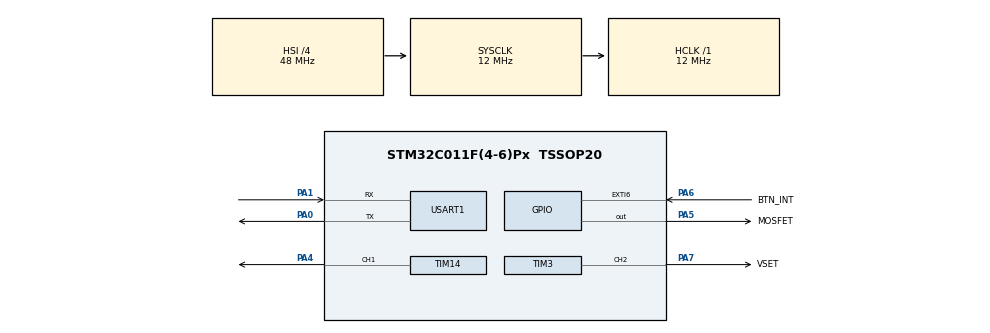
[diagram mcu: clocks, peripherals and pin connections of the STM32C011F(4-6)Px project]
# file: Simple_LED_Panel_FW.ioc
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Mcu.Family=STM32C0
Mcu.Name=STM32C011F(4-6)Px
Mcu.Package=TSSOP20
NVIC.EXTI4_15_IRQn=true\:0\:0\:false\:false\:true\:true\:true\:true
NVIC.TIM14_IRQn=true\:0\:0\:false\:false\:true\:true\:true\:true
NVIC.TIM3_IRQn=true\:0\:0\:false\:false\:true\:true\:true\:true
PA0.Mode=Asynchronous
PA0.Signal=USART1_TX
PA1.Mode=Asynchronous
PA1.Signal=USART1_RX
PA13.Mode=Serial_Wire
PA13.Signal=DEBUG_SWDIO
PA14-BOOT0.Mode=Serial_Wire
PA14-BOOT0.Signal=DEBUG_SWCLK
PA4.Signal=S_TIM14_CH1
PA5.GPIO_Label=MOSFET
PA5.Signal=GPIO_Output
PA6.GPIO_Label=BTN_INT
PA6.GPIO_ModeDefaultEXTI=GPIO_MODE_IT_FALLING
PA6.Signal=GPXTI6
PA7.GPIO_Label=VSET
PA7.GPIO_ModeDefaultPP=GPIO_MODE_AF_PP
PA7.GPIO_Speed=GPIO_SPEED_FREQ_VERY_HIGH
PA7.Signal=S_TIM3_CH2
PC14-OSCX_IN\ (PC14).Mode=HSE-External-Oscillator-REMAPPED
PC14-OSCX_IN\ (PC14).Signal=RCC_OSCX_IN
PC15-OSCX_OUT\ (PC15).Mode=HSE-External-Oscillator-REMAPPED
PC15-OSCX_OUT\ (PC15).Signal=RCC_OSCX_OUT
ProjectManager.HeapSize=0x200
ProjectManager.StackSize=0x400
ProjectManager.TargetToolchain=STM32CubeIDE
RCC.ADCFreq_Value=12000000
RCC.AHBFreq_Value=12000000
RCC.CortexFreq_Value=12000000
RCC.EXTERNAL_CLOCK_VALUE=12288000
RCC.HCLKFreq_Value=12000000
RCC.HSE_VALUE=8000000
RCC.HSI_VALUE=48000000
RCC.LSE_VALUE=32768
RCC.SYSCLKFreq_VALUE=12000000
SH.S_TIM14_CH1.0=TIM14_CH1,PWM Generation1 CH1
SH.S_TIM3_CH2.0=TIM3_CH2,PWM Generation2 CH2
TIM14.Channel=TIM_CHANNEL_1
TIM14.Period=1999
TIM14.Prescaler=11999
TIM14.Pulse=1000
TIM3.Channel-PWM\ Generation2\ CH2=TIM_CHANNEL_2
TIM3.Period=119
TIM3.Prescaler=0
TIM3.Pulse-PWM\ Generation2\ CH2=0
USART1.VirtualMode-Asynchronous=VM_ASYNC
VP_TIM14_VS_ClockSourceINT.Mode=Enable_Timer
VP_TIM3_VS_ClockSourceINT.Mode=Internal
board=custom

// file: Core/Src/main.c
/* USER CODE BEGIN Header */
/**
  ******************************************************************************
  * @file           : main.c
  * @brief          : Main program body
  ******************************************************************************
  * @attention
  *
  * Copyright (c) 2025 STMicroelectronics.
  * All rights reserved.
  *
  * This software is licensed under terms that can be found in the LICENSE file
  * in the root directory of this software component.
  * If no LICENSE file comes with this software, it is provided AS-IS.
  *
  ******************************************************************************
  */
/* USER CODE END Header */
#include "main.h"

/* USER CODE BEGIN Includes */
#include "mode.h"
/* USER CODE END Includes */

TIM_HandleTypeDef htim3;
TIM_HandleTypeDef htim14;

UART_HandleTypeDef huart1;

/* USER CODE BEGIN PV */
uint8_t state = 0;

/* USER CODE END PV */

void SystemClock_Config(void);
static void MX_GPIO_Init(void);
static void MX_USART1_UART_Init(void);
static void MX_TIM14_Init(void);
static void MX_TIM3_Init(void);

int main(void)
{

  /* MCU Configuration--------------------------------------------------------*/

  /* Reset of all peripherals, Initializes the Flash interface and the Systick. */
  HAL_Init();

  /* Configure the system clock */
  SystemClock_Config();

  /* Initialize all configured peripherals */
  MX_GPIO_Init();
  MX_USART1_UART_Init();
  MX_TIM14_Init();
  MX_TIM3_Init();
  /* USER CODE BEGIN 2 */
  HAL_TIM_PWM_Start(&htim14, TIM_CHANNEL_1);
  HAL_TIM_PWM_Start(&htim3, TIM_CHANNEL_2);

int count = 0;
int dir = 0;

  /* USER CODE END 2 */

  /* Infinite loop */
  /* USER CODE BEGIN WHILE */
  while (1)
  {
	  if(get_mode() == 2){
		  htim3.Instance->CCR2 = count;
		  HAL_Delay(3);
		  if(dir == 0){
		    count ++;

		  }else{
		    count--;
		  }

		  if(count == 120){
		    dir = 1;
		  } else if(count == 0){
		    dir = 0;
		  }
	  }
	  else if(get_mode() == 1){
		  htim3.Instance->CCR2 = 120;
	  } else if(get_mode() == 0){
		  htim3.Instance->CCR2 = 0;
	  }

    /* USER CODE END WHILE */

  }
}

void SystemClock_Config(void)
{
  RCC_OscInitTypeDef RCC_OscInitStruct = {0};
  RCC_ClkInitTypeDef RCC_ClkInitStruct = {0};

  __HAL_FLASH_SET_LATENCY(FLASH_LATENCY_0);

  /** Initializes the RCC Oscillators according to the specified parameters
  * in the RCC_OscInitTypeDef structure.
  */
  RCC_OscInitStruct.OscillatorType = RCC_OSCILLATORTYPE_HSI;
  RCC_OscInitStruct.HSIState = RCC_HSI_ON;
  RCC_OscInitStruct.HSIDiv = RCC_HSI_DIV4;
  RCC_OscInitStruct.HSICalibrationValue = RCC_HSICALIBRATION_DEFAULT;
  if (HAL_RCC_OscConfig(&RCC_OscInitStruct) != HAL_OK)
  {
    Error_Handler();
  }

  /** Initializes the CPU, AHB and APB buses clocks
  */
  RCC_ClkInitStruct.ClockType = RCC_CLOCKTYPE_HCLK|RCC_CLOCKTYPE_SYSCLK
                              |RCC_CLOCKTYPE_PCLK1;
  RCC_ClkInitStruct.SYSCLKSource = RCC_SYSCLKSOURCE_HSI;
  RCC_ClkInitStruct.SYSCLKDivider = RCC_SYSCLK_DIV1;
  RCC_ClkInitStruct.AHBCLKDivider = RCC_HCLK_DIV1;
  RCC_ClkInitStruct.APB1CLKDivider = RCC_APB1_DIV1;

  if (HAL_RCC_ClockConfig(&RCC_ClkInitStruct, FLASH_LATENCY_0) != HAL_OK)
  {
    Error_Handler();
  }
}

static void MX_TIM3_Init(void)
{

  TIM_ClockConfigTypeDef sClockSourceConfig = {0};
  TIM_MasterConfigTypeDef sMasterConfig = {0};
  TIM_OC_InitTypeDef sConfigOC = {0};

  htim3.Instance = TIM3;
  htim3.Init.Prescaler = 0;
  htim3.Init.CounterMode = TIM_COUNTERMODE_UP;
  htim3.Init.Period = 119;
  htim3.Init.ClockDivision = TIM_CLOCKDIVISION_DIV1;
  htim3.Init.AutoReloadPreload = TIM_AUTORELOAD_PRELOAD_DISABLE;
  if (HAL_TIM_Base_Init(&htim3) != HAL_OK)
  {
    Error_Handler();
  }
  sClockSourceConfig.ClockSource = TIM_CLOCKSOURCE_INTERNAL;
  if (HAL_TIM_ConfigClockSource(&htim3, &sClockSourceConfig) != HAL_OK)
  {
    Error_Handler();
  }
  if (HAL_TIM_PWM_Init(&htim3) != HAL_OK)
  {
    Error_Handler();
  }
  sMasterConfig.MasterOutputTrigger = TIM_TRGO_RESET;
  sMasterConfig.MasterSlaveMode = TIM_MASTERSLAVEMODE_DISABLE;
  if (HAL_TIMEx_MasterConfigSynchronization(&htim3, &sMasterConfig) != HAL_OK)
  {
    Error_Handler();
  }
  sConfigOC.OCMode = TIM_OCMODE_PWM1;
  sConfigOC.Pulse = 0;
  sConfigOC.OCPolarity = TIM_OCPOLARITY_HIGH;
  sConfigOC.OCFastMode = TIM_OCFAST_DISABLE;
  if (HAL_TIM_PWM_ConfigChannel(&htim3, &sConfigOC, TIM_CHANNEL_2) != HAL_OK)
  {
    Error_Handler();
  }
  HAL_TIM_MspPostInit(&htim3);

}

static void MX_TIM14_Init(void)
{

  TIM_OC_InitTypeDef sConfigOC = {0};

  htim14.Instance = TIM14;
  htim14.Init.Prescaler = 11999;
  htim14.Init.CounterMode = TIM_COUNTERMODE_UP;
  htim14.Init.Period = 1999;
  htim14.Init.ClockDivision = TIM_CLOCKDIVISION_DIV1;
  htim14.Init.AutoReloadPreload = TIM_AUTORELOAD_PRELOAD_DISABLE;
  if (HAL_TIM_Base_Init(&htim14) != HAL_OK)
  {
    Error_Handler();
  }
  if (HAL_TIM_PWM_Init(&htim14) != HAL_OK)
  {
    Error_Handler();
  }
  sConfigOC.OCMode = TIM_OCMODE_PWM1;
  sConfigOC.Pulse = 1000;
  sConfigOC.OCPolarity = TIM_OCPOLARITY_HIGH;
  sConfigOC.OCFastMode = TIM_OCFAST_DISABLE;
  if (HAL_TIM_PWM_ConfigChannel(&htim14, &sConfigOC, TIM_CHANNEL_1) != HAL_OK)
  {
    Error_Handler();
  }
  HAL_TIM_MspPostInit(&htim14);

}

static void MX_USART1_UART_Init(void)
{

  huart1.Instance = USART1;
  huart1.Init.BaudRate = 115200;
  huart1.Init.WordLength = UART_WORDLENGTH_8B;
  huart1.Init.StopBits = UART_STOPBITS_1;
  huart1.Init.Parity = UART_PARITY_NONE;
  huart1.Init.Mode = UART_MODE_TX_RX;
  huart1.Init.HwFlowCtl = UART_HWCONTROL_NONE;
  huart1.Init.OverSampling = UART_OVERSAMPLING_16;
  huart1.Init.OneBitSampling = UART_ONE_BIT_SAMPLE_DISABLE;
  huart1.Init.ClockPrescaler = UART_PRESCALER_DIV1;
  huart1.AdvancedInit.AdvFeatureInit = UART_ADVFEATURE_NO_INIT;
  if (HAL_UART_Init(&huart1) != HAL_OK)
  {
    Error_Handler();
  }
  if (HAL_UARTEx_SetTxFifoThreshold(&huart1, UART_TXFIFO_THRESHOLD_1_8) != HAL_OK)
  {
    Error_Handler();
  }
  if (HAL_UARTEx_SetRxFifoThreshold(&huart1, UART_RXFIFO_THRESHOLD_1_8) != HAL_OK)
  {
    Error_Handler();
  }
  if (HAL_UARTEx_DisableFifoMode(&huart1) != HAL_OK)
  {
    Error_Handler();
  }

}

static void MX_GPIO_Init(void)
{
  GPIO_InitTypeDef GPIO_InitStruct = {0};

  /* GPIO Ports Clock Enable */
  __HAL_RCC_GPIOC_CLK_ENABLE();
  __HAL_RCC_GPIOA_CLK_ENABLE();

  /*Configure GPIO pin Output Level */
  HAL_GPIO_WritePin(MOSFET_GPIO_Port, MOSFET_Pin, GPIO_PIN_RESET);

  /*Configure GPIO pin : MOSFET_Pin */
  GPIO_InitStruct.Pin = MOSFET_Pin;
  GPIO_InitStruct.Mode = GPIO_MODE_OUTPUT_PP;
  GPIO_InitStruct.Pull = GPIO_NOPULL;
  GPIO_InitStruct.Speed = GPIO_SPEED_FREQ_LOW;
  HAL_GPIO_Init(MOSFET_GPIO_Port, &GPIO_InitStruct);

  /*Configure GPIO pin : BTN_INT_Pin */
  GPIO_InitStruct.Pin = BTN_INT_Pin;
  GPIO_InitStruct.Mode = GPIO_MODE_IT_FALLING;
  GPIO_InitStruct.Pull = GPIO_NOPULL;
  HAL_GPIO_Init(BTN_INT_GPIO_Port, &GPIO_InitStruct);

  /* EXTI interrupt init*/
  HAL_NVIC_SetPriority(EXTI4_15_IRQn, 0, 0);
  HAL_NVIC_EnableIRQ(EXTI4_15_IRQn);

}

void Error_Handler(void)
{
  __disable_irq();
  while (1)
  {
  }
}
